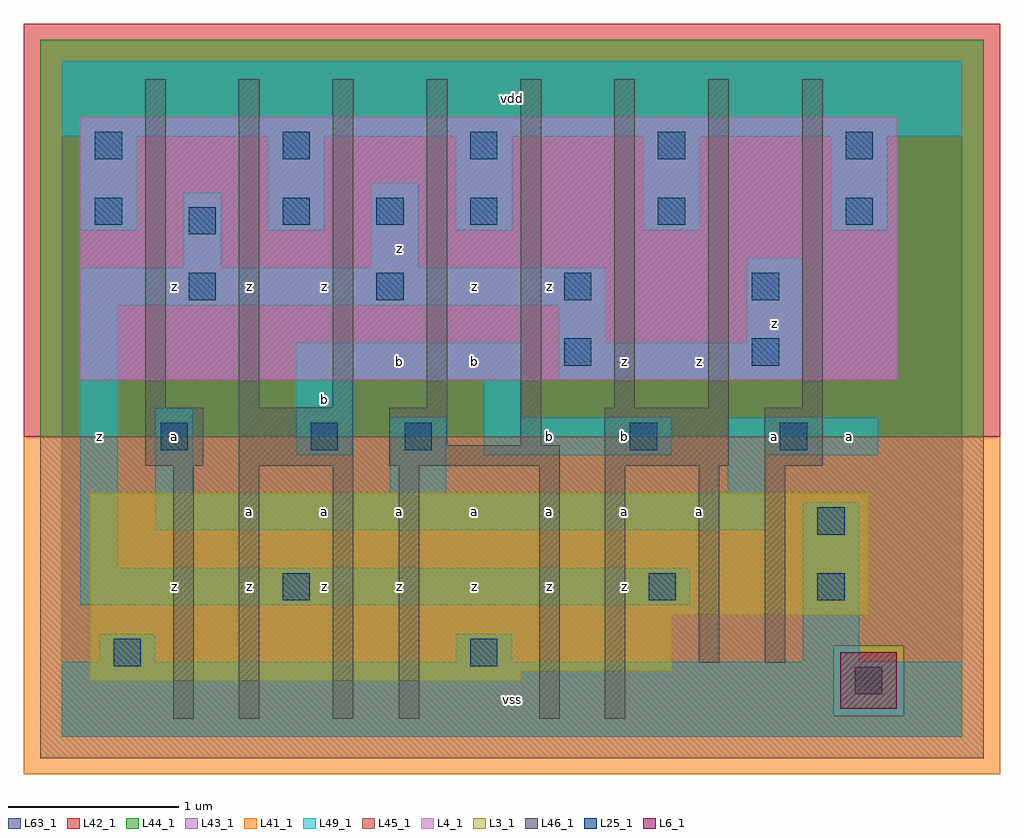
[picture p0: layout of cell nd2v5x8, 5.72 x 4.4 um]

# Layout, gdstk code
import gdstk
lib = gdstk.Library(unit=1e-6, precision=1e-09)
def R(c, l, rs):  # rectangles x0, y0, x1, y1
    for r in rs: c.add(gdstk.rectangle(r[:2], r[2:], *l))
def A(c, l, x, y, w, h, nx, ny, dx, dy):  # array of equal rectangles
    R(c, l, [(x+i*dx, y+j*dy, x+i*dx+w, y+j*dy+h) for i in range(nx) for j in range(ny)])
L3_1 = (3, 1)
L4_1 = (4, 1)
L6_1 = (6, 1)
L25_1 = (25, 1)
L41_1 = (41, 1)
L42_1 = (42, 1)
L43_1 = (43, 1)
L44_1 = (44, 1)
L45_1 = (45, 1)
L46_1 = (46, 1)
L49_1 = (49, 1)
L63_1 = (63, 1)

nd2v5x8 = lib.new_cell('nd2v5x8')
R(nd2v5x8, L3_1, [(0.165,0.33,2.695,0.385), (0.165,0.385,3.575,0.715), (0.165,0.715,4.73,1.43)])
R(nd2v5x8, L4_1, [(0.11,2.09,4.895,3.63)])
R(nd2v5x8, L6_1, [(4.565,0.165,4.895,0.495)])
A(nd2v5x8, L25_1, 0.745, 2.56, 0.16, 0.16, 4, 1, 1.1, 0)
A(nd2v5x8, L25_1, 1.295, 3, 0.16, 0.16, 3, 1, 0.55, 0)
A(nd2v5x8, L25_1, 0.195, 3.385, 0.16, 0.16, 5, 1, 1.1, 0)
R(nd2v5x8, L25_1, [(4.65,0.25,4.81,0.41), (0.305,0.415,0.465,0.575), (2.395,0.415,2.555,0.575), (1.295,0.8,1.455,0.96), (3.44,0.8,3.6,0.96), (4.43,0.8,4.59,0.96), (4.43,1.185,4.59,1.345), (0.58,1.68,0.74,1.84), (1.46,1.68,1.62,1.84), (2.01,1.68,2.17,1.84), (3.33,1.68,3.49,1.84), (4.21,1.68,4.37,1.84), (2.945,2.175,3.105,2.335), (4.045,2.175,4.205,2.335), (0.745,2.945,0.905,3.105), (0.195,3,0.355,3.16), (3.495,3,3.655,3.16), (4.595,3,4.755,3.16)])
R(nd2v5x8, L41_1, [(-0.22,-0.22,5.5,1.76)])
R(nd2v5x8, L42_1, [(-0.22,1.76,5.5,4.18)])
R(nd2v5x8, L43_1, [(4.565,0.165,4.895,0.495), (0.165,0.33,2.695,0.385), (0.165,0.385,3.575,0.715), (0.165,0.715,4.73,1.43), (0.11,2.09,4.895,3.63)])
R(nd2v5x8, L44_1, [(4.525,0.125,4.935,0.535), (-0.125,1.76,5.405,4.085)])
R(nd2v5x8, L45_1, [(-0.125,-0.125,5.405,0.125), (-0.125,0.125,4.525,0.535), (4.935,0.125,5.405,0.535), (-0.125,0.535,5.405,1.76)])
A(nd2v5x8, L46_1, 0.49, 1.93, 0.12, 1.925, 4, 1, 0.55, 0)
A(nd2v5x8, L46_1, 3.24, 1.93, 0.12, 1.925, 3, 1, 0.55, 0)
R(nd2v5x8, L46_1, [(0.655,0.105,0.775,1.59), (1.04,0.105,1.16,1.59), (1.59,0.105,1.71,1.59), (1.975,0.105,2.095,1.59), (2.8,0.105,2.92,1.59), (3.185,0.105,3.305,1.59), (3.735,0.435,3.855,1.59), (4.12,0.435,4.24,1.59), (0.49,1.59,0.83,1.93), (1.04,1.59,1.71,1.93), (1.92,1.59,2.92,1.71), (3.185,1.59,3.91,1.93), (4.12,1.59,4.46,1.93), (1.92,1.71,2.26,1.93), (2.69,1.71,2.81,3.855)])
A(nd2v5x8, L49_1, 0.11, 2.97, 0.33, 0.55, 5, 1, 1.1, 0)
R(nd2v5x8, L49_1, [(0,0,5.28,0.44), (0.22,0.44,0.55,0.605), (2.31,0.44,2.64,0.605), (4.345,0.44,4.675,1.375), (0.11,0.77,3.685,0.99), (0.11,0.99,0.33,2.53), (0.55,1.21,4.125,1.43), (0.55,1.43,0.77,1.925), (1.925,1.43,2.255,1.87), (3.905,1.43,4.125,1.65), (1.375,1.65,1.705,2.09), (2.475,1.65,3.575,1.87), (3.905,1.65,4.785,1.87), (2.475,1.87,2.695,2.09), (1.375,2.09,2.695,2.31), (2.915,2.09,4.345,2.31), (2.915,2.31,3.19,2.53), (4.015,2.31,4.345,2.805), (0.11,2.53,3.19,2.75), (0.715,2.75,0.935,3.19), (1.815,2.75,2.09,3.245), (0,3.52,5.28,3.96)])
R(nd2v5x8, L63_1, [(0,0,5.28,3.96)])
nd2v5x8.add(gdstk.Label('z', (0.66,0.88), layer=49, texttype=1))
nd2v5x8.add(gdstk.Label('z', (0.22,1.76), layer=49, texttype=1))
nd2v5x8.add(gdstk.Label('a', (0.66,1.76), layer=49, texttype=1))
nd2v5x8.add(gdstk.Label('z', (0.66,2.64), layer=49, texttype=1))
nd2v5x8.add(gdstk.Label('z', (1.54,0.88), layer=49, texttype=1))
nd2v5x8.add(gdstk.Label('z', (1.1,0.88), layer=49, texttype=1))
nd2v5x8.add(gdstk.Label('a', (1.1,1.32), layer=49, texttype=1))
nd2v5x8.add(gdstk.Label('a', (1.54,1.32), layer=49, texttype=1))
nd2v5x8.add(gdstk.Label('b', (1.54,1.98), layer=49, texttype=1))
nd2v5x8.add(gdstk.Label('z', (1.1,2.64), layer=49, texttype=1))
nd2v5x8.add(gdstk.Label('z', (1.54,2.64), layer=49, texttype=1))
nd2v5x8.add(gdstk.Label('vss', (2.64,0.22), layer=49, texttype=1))
nd2v5x8.add(gdstk.Label('z', (2.86,0.88), layer=49, texttype=1))
nd2v5x8.add(gdstk.Label('z', (2.42,0.88), layer=49, texttype=1))
nd2v5x8.add(gdstk.Label('z', (1.98,0.88), layer=49, texttype=1))
nd2v5x8.add(gdstk.Label('a', (1.98,1.32), layer=49, texttype=1))
nd2v5x8.add(gdstk.Label('a', (2.86,1.32), layer=49, texttype=1))
nd2v5x8.add(gdstk.Label('a', (2.42,1.32), layer=49, texttype=1))
nd2v5x8.add(gdstk.Label('b', (2.86,1.76), layer=49, texttype=1))
nd2v5x8.add(gdstk.Label('b', (1.98,2.2), layer=49, texttype=1))
nd2v5x8.add(gdstk.Label('b', (2.42,2.2), layer=49, texttype=1))
nd2v5x8.add(gdstk.Label('z', (1.98,2.86), layer=49, texttype=1))
nd2v5x8.add(gdstk.Label('z', (2.86,2.64), layer=49, texttype=1))
nd2v5x8.add(gdstk.Label('z', (2.42,2.64), layer=49, texttype=1))
nd2v5x8.add(gdstk.Label('vdd', (2.64,3.74), layer=49, texttype=1))
nd2v5x8.add(gdstk.Label('z', (3.3,0.88), layer=49, texttype=1))
nd2v5x8.add(gdstk.Label('a', (3.3,1.32), layer=49, texttype=1))
nd2v5x8.add(gdstk.Label('a', (3.74,1.32), layer=49, texttype=1))
nd2v5x8.add(gdstk.Label('a', (4.18,1.76), layer=49, texttype=1))
nd2v5x8.add(gdstk.Label('b', (3.3,1.76), layer=49, texttype=1))
nd2v5x8.add(gdstk.Label('z', (3.3,2.2), layer=49, texttype=1))
nd2v5x8.add(gdstk.Label('z', (3.74,2.2), layer=49, texttype=1))
nd2v5x8.add(gdstk.Label('z', (4.18,2.42), layer=49, texttype=1))
nd2v5x8.add(gdstk.Label('a', (4.62,1.76), layer=49, texttype=1))

lib.write_gds('nd2v5x8.gds')
